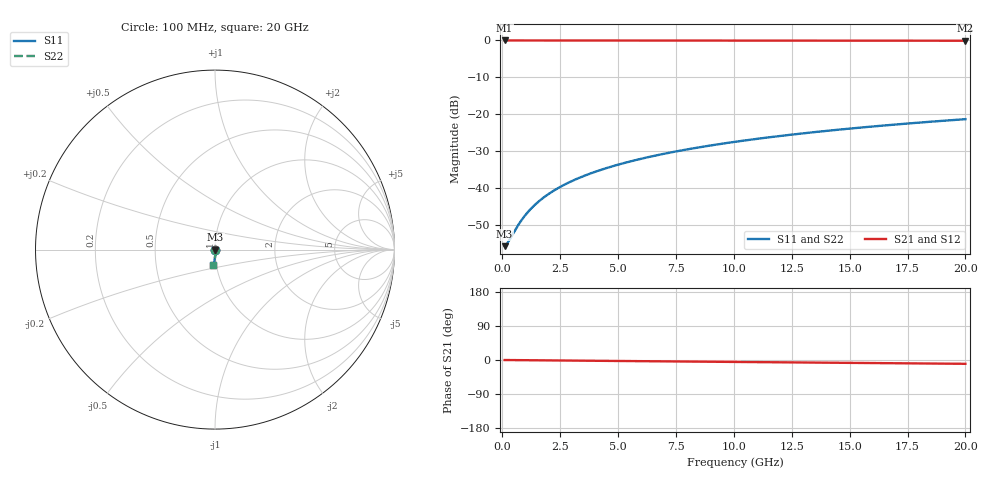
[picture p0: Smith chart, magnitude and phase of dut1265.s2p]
! Touchstone file exported from HFSS 2026.1.0
!  File:  C:/ffzhzh/LocalFiles/Ansys_Project_Files/temp_train_TSV_1265_1783193967_43440.aedt
!  Generated:  03:41:22 AM Jul  5, 2026
!  Design:  TSV
!  Project:  temp_train_TSV_1265_1783193967_43440
! Variables:
!  h_bsmrdl = 2um
!  h_ox = 20um
!  h_rdl = 5um
!  h_sub = 94.91um
!  h_tmrdl = 5um
!  h_tsv = 94.91um
!  h_via = 3um
!  l_bsmrdl = 300um
!  l_sub = 405.28um
!  l_tmrdl = 200um
!  m_sub = 200um
!  pitch = 6.84um
!  r_tsv = 2.64um
!  s_tmrdl = 10um
!  w_bsmrdl = 18um
!  w_sub = 500um
!  w_tmrdl = 12um
!  x_tsv_center1 = 206um
!  x_tsv_center2 = 524um
!  x_tsv_center3 = 736um
!  x_tsv_center4 = 1054um
!  x_tsv_center5 = 1266um
!  x_tsv_center6 = 1584um
# GHz S MA R 50.000000
! Terminal data exported
! Port[1] = TSV1_1_T1
! Port[2] = TSV1_1_T2
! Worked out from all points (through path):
!   200 points, 100 MHz to 20 GHz, reference 50 ohm
!   highest |S21| = -0.01 dB at 100 MHz (marker M1); lowest = -0.1 dB at 20 GHz (marker M2)
!   group delay of S21, straight-line fit = 1.39 ps
!   lowest |S11| = -55.9 dB at 100 MHz (marker M3), VSWR 1.00, Z = 50.2 - j0.034 ohm
!   |S11| at or under -10 dB: start of sweep to end of sweep
!   |S22| runs from -55.9 to -21.4 dB; largest |S21 - S12| = 5.3e-15
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0.1  0.00161 -12.1  0.9984 -0.1  0.9984 -0.1  0.00161 -12.1
! Gamma 0 0 0 0
! Port Impedance 50 0 50 0
0.2  0.00174 -23.1  0.9984 -0.1  0.9984 -0.1  0.00174 -23.1
0.3  0.00194 -32.5  0.9984 -0.2  0.9984 -0.2  0.00194 -32.5
0.6  0.002814 -51.1  0.9982 -0.3  0.9982 -0.3  0.002814 -51.1
0.7  0.003159 -55.1  0.9982 -0.4  0.9982 -0.4  0.003159 -55.1
0.9  0.003889 -61.3  0.9981 -0.5  0.9981 -0.5  0.003889 -61.3
1.2  0.005041 -67.5  0.998 -0.6  0.998 -0.6  0.005041 -67.5
1.5  0.006225 -71.6  0.9979 -0.8  0.9979 -0.8  0.006225 -71.6
1.9  0.007829 -75.3  0.9979 -1.0  0.9979 -1.0  0.007829 -75.3
2.4  0.009854 -78.4  0.9978 -1.2  0.9978 -1.2  0.009854 -78.4
2.9  0.01189 -80.5  0.9977 -1.5  0.9977 -1.5  0.01189 -80.5
3.5  0.01436 -82.2  0.9975 -1.8  0.9975 -1.8  0.01436 -82.2
4.2  0.01724 -83.8  0.9973 -2.2  0.9973 -2.2  0.01724 -83.8
5  0.02057 -85.0  0.9971 -2.6  0.9971 -2.6  0.02057 -85.0
5.9  0.02434 -86.2  0.9968 -3.0  0.9968 -3.0  0.02434 -86.2
6.8  0.02813 -87.1  0.9965 -3.5  0.9965 -3.5  0.02813 -87.1
8.3  0.03451 -88.4  0.9959 -4.2  0.9959 -4.2  0.03451 -88.4
10.1  0.04223 -89.8  0.9951 -5.2  0.9951 -5.2  0.04223 -89.8
11.7  0.04916 -90.8  0.9944 -6.0  0.9944 -6.0  0.04916 -90.8
13.4  0.05654 -91.9  0.9936 -6.8  0.9936 -6.8  0.05654 -91.9
16.7  0.07093 -94.0  0.992 -8.4  0.992 -8.4  0.07093 -94.0
20  0.08531 -95.9  0.9902 -10.1  0.9902 -10.1  0.08531 -95.9
